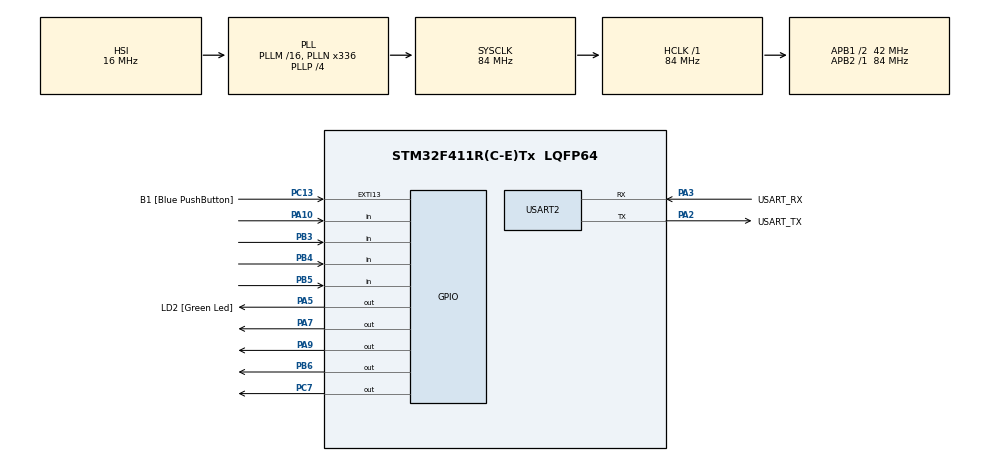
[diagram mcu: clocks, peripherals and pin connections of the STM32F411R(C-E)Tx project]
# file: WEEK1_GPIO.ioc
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Mcu.Family=STM32F4
Mcu.Name=STM32F411R(C-E)Tx
Mcu.Package=LQFP64
NVIC.PriorityGroup=NVIC_PRIORITYGROUP_0
PA10.Signal=GPIO_Input
PA13.GPIO_Label=TMS
PA13.Mode=Serial_Wire
PA13.Signal=SYS_JTMS-SWDIO
PA14.GPIO_Label=TCK
PA14.Mode=Serial_Wire
PA14.Signal=SYS_JTCK-SWCLK
PA2.GPIO_Label=USART_TX
PA2.Mode=Asynchronous
PA2.Signal=USART2_TX
PA3.GPIO_Label=USART_RX
PA3.Mode=Asynchronous
PA3.Signal=USART2_RX
PA5.GPIO_Label=LD2 [Green Led]
PA5.Signal=GPIO_Output
PA7.Signal=GPIO_Output
PA9.Signal=GPIO_Output
PB3.Signal=GPIO_Input
PB4.Signal=GPIO_Input
PB5.Signal=GPIO_Input
PB6.Signal=GPIO_Output
PC13-ANTI_TAMP.GPIO_Label=B1 [Blue PushButton]
PC13-ANTI_TAMP.GPIO_ModeDefaultEXTI=GPIO_MODE_IT_FALLING
PC13-ANTI_TAMP.Signal=GPXTI13
PC14-OSC32_IN.Mode=LSE-External-Oscillator
PC14-OSC32_IN.Signal=RCC_OSC32_IN
PC15-OSC32_OUT.Mode=LSE-External-Oscillator
PC15-OSC32_OUT.Signal=RCC_OSC32_OUT
PC7.Signal=GPIO_Output
PH0\ -\ OSC_IN.Mode=HSE-External-Clock-Source
PH0\ -\ OSC_IN.Signal=RCC_OSC_IN
PH1\ -\ OSC_OUT.Mode=HSE-External-Clock-Source
PH1\ -\ OSC_OUT.Signal=RCC_OSC_OUT
ProjectManager.HeapSize=0x200
ProjectManager.StackSize=0x400
ProjectManager.TargetToolchain=STM32CubeIDE
RCC.48MHZClocksFreq_Value=84000000
RCC.AHBFreq_Value=84000000
RCC.APB1CLKDivider=RCC_HCLK_DIV2
RCC.APB1Freq_Value=42000000
RCC.APB1TimFreq_Value=84000000
RCC.APB2Freq_Value=84000000
RCC.APB2TimFreq_Value=84000000
RCC.CortexFreq_Value=84000000
RCC.FLatency-AdvancedSettings=FLASH_LATENCY_2
RCC.HCLKFreq_Value=84000000
RCC.HSE_VALUE=8000000
RCC.HSI_VALUE=16000000
RCC.PLLN=336
RCC.PLLP=RCC_PLLP_DIV4
RCC.SYSCLKFreq_VALUE=84000000
RCC.SYSCLKSource=RCC_SYSCLKSOURCE_PLLCLK
RCC.VCOOutputFreq_Value=336000000
USART2.VirtualMode=VM_ASYNC
board=NUCLEO-F411RE

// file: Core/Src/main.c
/* USER CODE BEGIN Header */
/**
  ******************************************************************************
  * @file           : main.c
  * @brief          : Main program body
  ******************************************************************************
  * @attention
  *
  * <h2><center>&copy; Copyright (c) 2021 STMicroelectronics.
  * All rights reserved.</center></h2>
  *
  * This software component is licensed by ST under BSD 3-Clause license,
  * the "License"; You may not use this file except in compliance with the
  * License. You may obtain a copy of the License at:
  *                        opensource.org/licenses/BSD-3-Clause
  *
  ******************************************************************************
  */
/* USER CODE END Header */
#include "main.h"

UART_HandleTypeDef huart2;

void SystemClock_Config(void);
static void MX_GPIO_Init(void);
static void MX_USART2_UART_Init(void);

int main(void)
{

  /* MCU Configuration--------------------------------------------------------*/

  /* Reset of all peripherals, Initializes the Flash interface and the Systick. */
  HAL_Init();

  /* Configure the system clock */
  SystemClock_Config();

  /* Initialize all configured peripherals */
  MX_GPIO_Init();
  MX_USART2_UART_Init();
  /* USER CODE BEGIN 2 */
  //------------------------------------------------------
   GPIO_PinState SwitchStateD1[2];  //Now, Previous
   uint16_t LED1_Half_Period = 1000;  // 1 Hz
   GPIO_PinState SwitchStateD3[2];
   GPIO_PinState SwitchStateD5[2];
   uint16_t LED5_Half_Period = 250;
   //uint16_t LED3_Half_Period = 0;
   uint32_t TimeStampD1 = 0;
   uint32_t TimeStampD5 = 0;
   uint16_t LED5MODE = 0;
   uint32_t ButtonTimeStamp = 0;

  //------------------------------------------------------
  /* USER CODE END 2 */

  /* Infinite loop */
  /* USER CODE BEGIN WHILE */
  while (1)
  {
   if(HAL_GetTick() - ButtonTimeStamp >= 150)
   {
		ButtonTimeStamp = HAL_GetTick();

		SwitchStateD1[0] = HAL_GPIO_ReadPin(GPIOA, GPIO_PIN_10);
		   //Press = Low , No = High
		   if(SwitchStateD1[0] == GPIO_PIN_SET && SwitchStateD1[1] == GPIO_PIN_RESET)   /// [1;0]
		   // set = high , reset = low
		   {
			//Change Half Period of LED 1
			if(LED1_Half_Period == 1000)
			{
			 LED1_Half_Period = 500;
			}
			else if (LED1_Half_Period == 500)
			{
				LED1_Half_Period =250;
			}
			else if (LED1_Half_Period == 250)
			{
				LED1_Half_Period = 500/3;
			}
			else
			{
			 LED1_Half_Period = 1000;
			}
		   }
		SwitchStateD1[1] = SwitchStateD1[0];
		SwitchStateD3[0] = HAL_GPIO_ReadPin(GPIOB, GPIO_PIN_3);

		//LED3
		if(SwitchStateD3[0] == GPIO_PIN_SET && SwitchStateD3[1] == GPIO_PIN_RESET)
			   // set = high , reset = low
			   {
				if(HAL_GPIO_ReadPin(GPIOC, GPIO_PIN_7) == GPIO_PIN_SET)
				{
					HAL_GPIO_WritePin(GPIOC, GPIO_PIN_7, GPIO_PIN_RESET);
				}
				else if(HAL_GPIO_ReadPin(GPIOC, GPIO_PIN_7) == GPIO_PIN_RESET)
				{
					HAL_GPIO_WritePin(GPIOC, GPIO_PIN_7, GPIO_PIN_SET);
				}
			   }
		SwitchStateD3[1] = SwitchStateD3[0];
		SwitchStateD5[0] = HAL_GPIO_ReadPin(GPIOB, GPIO_PIN_5);
		if(SwitchStateD5[0] == GPIO_PIN_SET && SwitchStateD5[1] == GPIO_PIN_RESET)
		{
			if(LED5MODE == 0)
			{
				LED5MODE = 1;
			}
			else if(LED5MODE == 1)
			{
				LED5MODE = 0;
			}
		}
		SwitchStateD5[1] = SwitchStateD5[0];

   }

   //Run LED1
      if(HAL_GetTick() - TimeStampD1 >= LED1_Half_Period) //millisecond now time
      {
       TimeStampD1 = HAL_GetTick();
       if(HAL_GPIO_ReadPin(GPIOA, GPIO_PIN_9) == GPIO_PIN_SET)
       {
        HAL_GPIO_WritePin(GPIOA, GPIO_PIN_9, GPIO_PIN_RESET);
       }
       else
       {
        HAL_GPIO_WritePin(GPIOA, GPIO_PIN_9, GPIO_PIN_SET);
       }
      }
      //Run LED5
      if((HAL_GetTick() - TimeStampD5 >= LED5_Half_Period) & LED5MODE == 0) //millisecond now time
            {
             TimeStampD5 = HAL_GetTick();
             if(HAL_GPIO_ReadPin(GPIOB, GPIO_PIN_6) == GPIO_PIN_SET)
             {
              LED5_Half_Period = 500;
              HAL_GPIO_WritePin(GPIOB, GPIO_PIN_6, GPIO_PIN_RESET);
             }
             else if(HAL_GPIO_ReadPin(GPIOB, GPIO_PIN_6) == GPIO_PIN_RESET)
             {
              LED5_Half_Period = 1500;
              HAL_GPIO_WritePin(GPIOB, GPIO_PIN_6, GPIO_PIN_SET);
             }
            }

      else if((HAL_GetTick() - TimeStampD5 >= LED5_Half_Period) & LED5MODE == 1) //millisecond now time
             {
              TimeStampD5 = HAL_GetTick();
              if(HAL_GPIO_ReadPin(GPIOB, GPIO_PIN_6) == GPIO_PIN_SET)
              {
               LED5_Half_Period = 1500;
               HAL_GPIO_WritePin(GPIOB, GPIO_PIN_6, GPIO_PIN_RESET);
              }
              else if(HAL_GPIO_ReadPin(GPIOB, GPIO_PIN_6) == GPIO_PIN_RESET)
              {
               LED5_Half_Period = 500;
               HAL_GPIO_WritePin(GPIOB, GPIO_PIN_6, GPIO_PIN_SET);
              }
             }
    /* USER CODE END WHILE */

  }
}

void SystemClock_Config(void)
{
  RCC_OscInitTypeDef RCC_OscInitStruct = {0};
  RCC_ClkInitTypeDef RCC_ClkInitStruct = {0};

  /** Configure the main internal regulator output voltage
  */
  __HAL_RCC_PWR_CLK_ENABLE();
  __HAL_PWR_VOLTAGESCALING_CONFIG(PWR_REGULATOR_VOLTAGE_SCALE1);
  /** Initializes the RCC Oscillators according to the specified parameters
  * in the RCC_OscInitTypeDef structure.
  */
  RCC_OscInitStruct.OscillatorType = RCC_OSCILLATORTYPE_HSI;
  RCC_OscInitStruct.HSIState = RCC_HSI_ON;
  RCC_OscInitStruct.HSICalibrationValue = RCC_HSICALIBRATION_DEFAULT;
  RCC_OscInitStruct.PLL.PLLState = RCC_PLL_ON;
  RCC_OscInitStruct.PLL.PLLSource = RCC_PLLSOURCE_HSI;
  RCC_OscInitStruct.PLL.PLLM = 16;
  RCC_OscInitStruct.PLL.PLLN = 336;
  RCC_OscInitStruct.PLL.PLLP = RCC_PLLP_DIV4;
  RCC_OscInitStruct.PLL.PLLQ = 4;
  if (HAL_RCC_OscConfig(&RCC_OscInitStruct) != HAL_OK)
  {
    Error_Handler();
  }
  /** Initializes the CPU, AHB and APB buses clocks
  */
  RCC_ClkInitStruct.ClockType = RCC_CLOCKTYPE_HCLK|RCC_CLOCKTYPE_SYSCLK
                              |RCC_CLOCKTYPE_PCLK1|RCC_CLOCKTYPE_PCLK2;
  RCC_ClkInitStruct.SYSCLKSource = RCC_SYSCLKSOURCE_PLLCLK;
  RCC_ClkInitStruct.AHBCLKDivider = RCC_SYSCLK_DIV1;
  RCC_ClkInitStruct.APB1CLKDivider = RCC_HCLK_DIV2;
  RCC_ClkInitStruct.APB2CLKDivider = RCC_HCLK_DIV1;

  if (HAL_RCC_ClockConfig(&RCC_ClkInitStruct, FLASH_LATENCY_2) != HAL_OK)
  {
    Error_Handler();
  }
}

static void MX_USART2_UART_Init(void)
{

  huart2.Instance = USART2;
  huart2.Init.BaudRate = 115200;
  huart2.Init.WordLength = UART_WORDLENGTH_8B;
  huart2.Init.StopBits = UART_STOPBITS_1;
  huart2.Init.Parity = UART_PARITY_NONE;
  huart2.Init.Mode = UART_MODE_TX_RX;
  huart2.Init.HwFlowCtl = UART_HWCONTROL_NONE;
  huart2.Init.OverSampling = UART_OVERSAMPLING_16;
  if (HAL_UART_Init(&huart2) != HAL_OK)
  {
    Error_Handler();
  }

}

static void MX_GPIO_Init(void)
{
  GPIO_InitTypeDef GPIO_InitStruct = {0};

  /* GPIO Ports Clock Enable */
  __HAL_RCC_GPIOC_CLK_ENABLE();
  __HAL_RCC_GPIOH_CLK_ENABLE();
  __HAL_RCC_GPIOA_CLK_ENABLE();
  __HAL_RCC_GPIOB_CLK_ENABLE();

  /*Configure GPIO pin Output Level */
  HAL_GPIO_WritePin(GPIOA, LD2_Pin|GPIO_PIN_7|GPIO_PIN_9, GPIO_PIN_RESET);

  /*Configure GPIO pin Output Level */
  HAL_GPIO_WritePin(GPIOC, GPIO_PIN_7, GPIO_PIN_RESET);

  /*Configure GPIO pin Output Level */
  HAL_GPIO_WritePin(GPIOB, GPIO_PIN_6, GPIO_PIN_RESET);

  /*Configure GPIO pin : B1_Pin */
  GPIO_InitStruct.Pin = B1_Pin;
  GPIO_InitStruct.Mode = GPIO_MODE_IT_FALLING;
  GPIO_InitStruct.Pull = GPIO_NOPULL;
  HAL_GPIO_Init(B1_GPIO_Port, &GPIO_InitStruct);

  /*Configure GPIO pins : LD2_Pin PA7 PA9 */
  GPIO_InitStruct.Pin = LD2_Pin|GPIO_PIN_7|GPIO_PIN_9;
  GPIO_InitStruct.Mode = GPIO_MODE_OUTPUT_PP;
  GPIO_InitStruct.Pull = GPIO_NOPULL;
  GPIO_InitStruct.Speed = GPIO_SPEED_FREQ_LOW;
  HAL_GPIO_Init(GPIOA, &GPIO_InitStruct);

  /*Configure GPIO pin : PC7 */
  GPIO_InitStruct.Pin = GPIO_PIN_7;
  GPIO_InitStruct.Mode = GPIO_MODE_OUTPUT_PP;
  GPIO_InitStruct.Pull = GPIO_NOPULL;
  GPIO_InitStruct.Speed = GPIO_SPEED_FREQ_LOW;
  HAL_GPIO_Init(GPIOC, &GPIO_InitStruct);

  /*Configure GPIO pin : PA10 */
  GPIO_InitStruct.Pin = GPIO_PIN_10;
  GPIO_InitStruct.Mode = GPIO_MODE_INPUT;
  GPIO_InitStruct.Pull = GPIO_NOPULL;
  HAL_GPIO_Init(GPIOA, &GPIO_InitStruct);

  /*Configure GPIO pins : PB3 PB4 PB5 */
  GPIO_InitStruct.Pin = GPIO_PIN_3|GPIO_PIN_4|GPIO_PIN_5;
  GPIO_InitStruct.Mode = GPIO_MODE_INPUT;
  GPIO_InitStruct.Pull = GPIO_NOPULL;
  HAL_GPIO_Init(GPIOB, &GPIO_InitStruct);

  /*Configure GPIO pin : PB6 */
  GPIO_InitStruct.Pin = GPIO_PIN_6;
  GPIO_InitStruct.Mode = GPIO_MODE_OUTPUT_PP;
  GPIO_InitStruct.Pull = GPIO_NOPULL;
  GPIO_InitStruct.Speed = GPIO_SPEED_FREQ_LOW;
  HAL_GPIO_Init(GPIOB, &GPIO_InitStruct);

}

void Error_Handler(void)
{
  __disable_irq();
  while (1)
  {
  }
}

/************************ (C) COPYRIGHT STMicroelectronics *****END OF FILE****/
